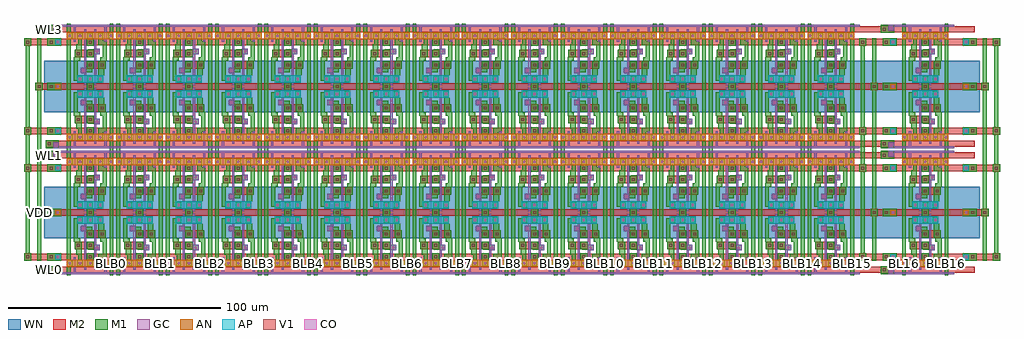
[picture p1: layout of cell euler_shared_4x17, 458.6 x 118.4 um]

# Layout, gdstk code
import gdstk
lib = gdstk.Library(unit=1e-6, precision=1e-07)
def R(c, l, rs):  # rectangles x0, y0, x1, y1
    for r in rs: c.add(gdstk.rectangle(r[:2], r[2:], *l))
def A(c, l, x, y, w, h, nx, ny, dx, dy):  # array of equal rectangles
    R(c, l, [(x+i*dx, y+j*dy, x+i*dx+w, y+j*dy+h) for i in range(nx) for j in range(ny)])
def P(c, l, *ps):  # polygons
    for p in ps: c.add(gdstk.Polygon(p, *l))
AP = (3, 1)
AN = (3, 2)
GC = (8, 1)
CO = (11, 0)
M1 = (13, 0)
V1 = (19, 0)
M2 = (20, 0)
WN = (140, 0)

euler = lib.new_cell('euler')
R(euler, AP, [(3.5,18.7,15.7,22.1)])
R(euler, AN, [(-1.3,-1.7,20.5,1.7)])
R(euler, GC, [(0,-5.1,23.2,-4.1), (1.9,-5.1,2.9,2.9), (16.3,-5.1,17.3,2.9), (6.7,-2.9,7.7,23.3), (11.5,-2.9,12.5,23.3), (11.5,6.1,14.1,8.7), (11.5,6.9,13.3,7.9), (5.1,15.1,7.7,17.7), (5.9,15.9,7.7,16.9)])
A(euler, CO, -0.5, -0.5, 1, 1, 5, 1, 4.8, 0)
A(euler, CO, 4.3, 19.9, 1, 1, 3, 1, 4.8, 0)
R(euler, CO, [(12.3,6.9,13.3,7.9), (5.9,15.9,6.9,16.9)])
P(euler, M1, [(8.3,-1.3),(8.3,1.3),(7.9,1.3),(7.9,4.7),(11.3,4.7),(11.3,1.3),(10.9,1.3),(10.9,-1.3)],
  [(11.5,6.1),(11.5,6.5),(8.7,6.5),(8.7,6.7),(7.9,6.7),(7.9,10.1),(11.3,10.1),(11.3,8.7),(14.1,8.7),(14.1,6.1)],
  [(7.9,12.1),(7.9,15.1),(5.1,15.1),(5.1,17.7),(7.7,17.7),(7.7,17.3),(10.5,17.3),(10.5,15.5),(11.3,15.5),(11.3,12.1)],
  [(3.5,-1.3),(3.5,1.3),(3.9,1.3),(3.9,4.1),(3.1,4.1),(3.1,6.7),(2.3,6.7),(2.3,10.1),(1.9,10.1),(1.9,21.3),(3.5,21.3),(3.5,21.7),(6.1,21.7),(6.1,19.1),(3.7,19.1),(3.7,11.9),(4.9,11.9),(4.9,10.1),(5.7,10.1),(5.7,1.3),(6.1,1.3),(6.1,-1.3)],
  [(13.1,-1.3),(13.1,1.3),(13.5,1.3),(13.5,4.5),(15.5,4.5),(15.5,10.1),(14.3,10.1),(14.3,12.1),(13.5,12.1),(13.5,19.1),(13.1,19.1),(13.1,21.7),(15.7,21.7),(15.7,18.7),(16.1,18.7),(16.1,15.5),(16.9,15.5),(16.9,11.9),(17.3,11.9),(17.3,2.7),(15.7,2.7),(15.7,-1.3)],
  [(-1.3,-5.7),(-1.3,23.9),(0.5,23.9),(0.5,1.3),(1.3,1.3),(1.3,-1.3),(0.5,-1.3),(0.5,-5.7)],
  [(18.7,-5.7),(18.7,-1.3),(17.9,-1.3),(17.9,1.3),(18.7,1.3),(18.7,23.9),(20.5,23.9),(20.5,-5.7)],
  [(8.3,19.1),(8.3,22.2),(7.9,22.2),(7.9,25.6),(11.3,25.6),(11.3,22.2),(10.9,22.2),(10.9,19.1)])
A(euler, V1, 8.9, 2.3, 1.4, 1.4, 1, 3, 0, 5.4)
R(euler, V1, [(3.3,7.7,4.7,9.1), (14.5,13.1,15.9,14.5), (8.9,23.2,10.3,24.6)])
A(euler, M2, 7.9, 1.3, 3.4, 3.4, 1, 3, 0, 5.4)
R(euler, M2, [(0,-4.5,23.2,-1.5), (0,1.5,23.2,4.5), (2.3,6.7,5.7,10.1), (2.3,6.7,11.3,10.1), (7.9,12.1,16.9,15.5), (13.5,12.1,16.9,15.5), (7.9,22.2,11.3,25.6), (0,22.4,23.2,25.4)])
R(euler, WN, [(-3.5,11.7,26.7,29.1)])

euler_shared_4x17 = lib.new_cell('euler_shared_4x17')
R(euler_shared_4x17, AP, [(-6.9,7.4,-4.3,10), (385.5,7.4,388.1,10), (419.9,7.4,422.5,10), (-6.9,49.2,-4.3,51.8), (385.5,49.2,388.1,51.8), (419.9,49.2,422.5,51.8), (-6.9,66.6,-4.3,69.2), (385.5,66.6,388.1,69.2), (419.9,66.6,422.5,69.2), (-6.9,108.4,-4.3,111), (385.5,108.4,388.1,111), (419.9,108.4,422.5,111)])
R(euler_shared_4x17, AN, [(-6.9,28.3,-4.3,30.9), (385.5,28.3,388.1,30.9), (419.9,28.3,422.5,30.9), (-6.9,87.5,-4.3,90.1), (385.5,87.5,388.1,90.1), (419.9,87.5,422.5,90.1)])
R(euler_shared_4x17, GC, [(-6.9,0.6,-5.9,2.5), (-6.4,0.6,0,1.6), (385.5,0.6,386.5,2.5), (386,0.6,392.4,1.6), (-7.7,0.7,-5.1,3.3), (384.7,0.7,387.3,3.3), (-7.7,55.9,-5.1,58.5), (384.7,55.9,387.3,58.5), (-6.9,56.7,-5.9,58.6), (385.5,56.7,386.5,58.6), (-6.4,57.6,0,58.6), (386,57.6,392.4,58.6), (-6.9,59.8,-5.9,61.7), (-6.4,59.8,0,60.8), (385.5,59.8,386.5,61.7), (386,59.8,392.4,60.8), (-7.7,59.9,-5.1,62.5), (384.7,59.9,387.3,62.5), (-7.7,115.1,-5.1,117.7), (384.7,115.1,387.3,117.7), (-6.9,115.9,-5.9,117.8), (385.5,115.9,386.5,117.8), (-6.4,116.8,0,117.8), (386,116.8,392.4,117.8)])
A(euler_shared_4x17, CO, -6.1, 8.2, 1, 1, 1, 3, 0, 20.9)
A(euler_shared_4x17, CO, 386.3, 8.2, 1, 1, 1, 3, 0, 20.9)
A(euler_shared_4x17, CO, 420.7, 8.2, 1, 1, 1, 3, 0, 20.9)
A(euler_shared_4x17, CO, -6.1, 67.4, 1, 1, 1, 3, 0, 20.9)
A(euler_shared_4x17, CO, 386.3, 67.4, 1, 1, 1, 3, 0, 20.9)
A(euler_shared_4x17, CO, 420.7, 67.4, 1, 1, 1, 3, 0, 20.9)
R(euler_shared_4x17, CO, [(-6.9,1.5,-5.9,2.5), (385.5,1.5,386.5,2.5), (-6.9,56.7,-5.9,57.7), (385.5,56.7,386.5,57.7), (-6.9,60.7,-5.9,61.7), (385.5,60.7,386.5,61.7), (-6.9,115.9,-5.9,116.9), (385.5,115.9,386.5,116.9)])
A(euler_shared_4x17, M1, -10.5, 7, 3.4, 3.4, 1, 3, 0, 20.9)
A(euler_shared_4x17, M1, -10.5, 7, 6.6, 3.4, 1, 3, 0, 20.9)
A(euler_shared_4x17, M1, 381.9, 7, 3.4, 3.4, 1, 3, 0, 20.9)
A(euler_shared_4x17, M1, 381.9, 7, 6.6, 3.4, 1, 3, 0, 20.9)
A(euler_shared_4x17, M1, 419.5, 7, 6.6, 3.4, 1, 3, 0, 20.9)
A(euler_shared_4x17, M1, 422.7, 7, 3.4, 3.4, 1, 3, 0, 20.9)
A(euler_shared_4x17, M1, -6.9, 7.4, 2.6, 2.6, 1, 3, 0, 20.9)
A(euler_shared_4x17, M1, 385.5, 7.4, 2.6, 2.6, 1, 3, 0, 20.9)
A(euler_shared_4x17, M1, 419.9, 7.4, 2.6, 2.6, 1, 3, 0, 20.9)
A(euler_shared_4x17, M1, -10.5, 66.2, 3.4, 3.4, 1, 3, 0, 20.9)
A(euler_shared_4x17, M1, -10.5, 66.2, 6.6, 3.4, 1, 3, 0, 20.9)
A(euler_shared_4x17, M1, 381.9, 66.2, 3.4, 3.4, 1, 3, 0, 20.9)
A(euler_shared_4x17, M1, 381.9, 66.2, 6.6, 3.4, 1, 3, 0, 20.9)
A(euler_shared_4x17, M1, 419.5, 66.2, 6.6, 3.4, 1, 3, 0, 20.9)
A(euler_shared_4x17, M1, 422.7, 66.2, 3.4, 3.4, 1, 3, 0, 20.9)
A(euler_shared_4x17, M1, -6.9, 66.6, 2.6, 2.6, 1, 3, 0, 20.9)
A(euler_shared_4x17, M1, 385.5, 66.6, 2.6, 2.6, 1, 3, 0, 20.9)
A(euler_shared_4x17, M1, 419.9, 66.6, 2.6, 2.6, 1, 3, 0, 20.9)
R(euler_shared_4x17, M1, [(-11.3,0.7,-5.1,4.4), (-7.7,0.7,-5.1,3.3), (381.1,0.7,387.3,4.4), (384.7,0.7,387.3,3.3), (-11.3,1,-7.9,4.4), (381.1,1,384.5,4.4), (-21.5,7,-18.1,10.4), (-20.7,7,-18.9,111.4), (-15.3,7,-13.5,111.4), (370.9,7,374.3,10.4), (371.7,7,373.5,111.4), (377.1,7,378.9,111.4), (429.1,7,430.9,111.4), (433.7,7,437.1,10.4), (434.5,7,436.3,111.4), (-16.1,27.9,-12.7,31.3), (376.3,27.9,379.7,31.3), (428.3,27.9,431.7,31.3), (-21.5,48.8,-18.1,52.2), (370.9,48.8,374.3,52.2), (433.7,48.8,437.1,52.2), (-11.3,54.8,-7.9,58.2), (-11.3,54.8,-5.1,58.5), (381.1,54.8,384.5,58.2), (381.1,54.8,387.3,58.5), (-7.7,55.9,-5.1,58.5), (384.7,55.9,387.3,58.5), (-11.3,59.9,-5.1,63.6), (-7.7,59.9,-5.1,62.5), (381.1,59.9,387.3,63.6), (384.7,59.9,387.3,62.5), (-11.3,60.2,-7.9,63.6), (381.1,60.2,384.5,63.6), (-21.5,66.2,-18.1,69.6), (370.9,66.2,374.3,69.6), (433.7,66.2,437.1,69.6), (-16.1,87.1,-12.7,90.5), (376.3,87.1,379.7,90.5), (428.3,87.1,431.7,90.5), (-21.5,108,-18.1,111.4), (370.9,108,374.3,111.4), (433.7,108,437.1,111.4), (-11.3,114,-7.9,117.4), (-11.3,114,-5.1,117.7), (381.1,114,384.5,117.4), (381.1,114,387.3,117.7), (-7.7,115.1,-5.1,117.7), (384.7,115.1,387.3,117.7)])
A(euler_shared_4x17, V1, -9.5, 8, 1.4, 1.4, 1, 3, 0, 20.9)
A(euler_shared_4x17, V1, 382.9, 8, 1.4, 1.4, 1, 3, 0, 20.9)
A(euler_shared_4x17, V1, 423.7, 8, 1.4, 1.4, 1, 3, 0, 20.9)
A(euler_shared_4x17, V1, -9.5, 67.2, 1.4, 1.4, 1, 3, 0, 20.9)
A(euler_shared_4x17, V1, 382.9, 67.2, 1.4, 1.4, 1, 3, 0, 20.9)
A(euler_shared_4x17, V1, 423.7, 67.2, 1.4, 1.4, 1, 3, 0, 20.9)
R(euler_shared_4x17, V1, [(-10.3,2,-8.9,3.4), (382.1,2,383.5,3.4), (-20.5,8,-19.1,9.4), (371.9,8,373.3,9.4), (434.7,8,436.1,9.4), (-15.1,28.9,-13.7,30.3), (377.3,28.9,378.7,30.3), (429.3,28.9,430.7,30.3), (-20.5,49.8,-19.1,51.2), (371.9,49.8,373.3,51.2), (434.7,49.8,436.1,51.2), (-10.3,55.8,-8.9,57.2), (382.1,55.8,383.5,57.2), (-10.3,61.2,-8.9,62.6), (382.1,61.2,383.5,62.6), (-20.5,67.2,-19.1,68.6), (371.9,67.2,373.3,68.6), (434.7,67.2,436.1,68.6), (-15.1,88.1,-13.7,89.5), (377.3,88.1,378.7,89.5), (429.3,88.1,430.7,89.5), (-20.5,109,-19.1,110.4), (371.9,109,373.3,110.4), (434.7,109,436.1,110.4), (-10.3,115,-8.9,116.4), (382.1,115,383.5,116.4)])
A(euler_shared_4x17, M2, -10.5, 7, 3.4, 3.4, 1, 3, 0, 20.9)
A(euler_shared_4x17, M2, 381.9, 7, 3.4, 3.4, 1, 3, 0, 20.9)
A(euler_shared_4x17, M2, 422.7, 7, 3.4, 3.4, 1, 3, 0, 20.9)
A(euler_shared_4x17, M2, -1.7, 7.2, 419, 3, 1, 3, 0, 20.9)
A(euler_shared_4x17, M2, -10.5, 66.2, 3.4, 3.4, 1, 3, 0, 20.9)
A(euler_shared_4x17, M2, 381.9, 66.2, 3.4, 3.4, 1, 3, 0, 20.9)
A(euler_shared_4x17, M2, 422.7, 66.2, 3.4, 3.4, 1, 3, 0, 20.9)
A(euler_shared_4x17, M2, -1.7, 66.4, 419, 3, 1, 3, 0, 20.9)
R(euler_shared_4x17, M2, [(-11.3,1,-7.9,4.4), (381.1,1,384.5,4.4), (-9.6,1.2,425.2,4.2), (-21.5,7,-18.1,10.4), (370.9,7,374.3,10.4), (433.7,7,437.1,10.4), (-21.5,7.2,417.3,10.2), (-1.7,7.2,437.1,10.2), (-16.1,27.9,-12.7,31.3), (376.3,27.9,379.7,31.3), (428.3,27.9,431.7,31.3), (-16.1,28.1,417.3,31.1), (-1.7,28.1,431.7,31.1), (-21.5,48.8,-18.1,52.2), (370.9,48.8,374.3,52.2), (433.7,48.8,437.1,52.2), (-21.5,49,417.3,52), (-1.7,49,437.1,52), (-11.3,54.8,-7.9,58.2), (381.1,54.8,384.5,58.2), (-9.6,55,425.2,58), (-11.3,60.2,-7.9,63.6), (381.1,60.2,384.5,63.6), (-9.6,60.4,425.2,63.4), (-21.5,66.2,-18.1,69.6), (370.9,66.2,374.3,69.6), (433.7,66.2,437.1,69.6), (-21.5,66.4,417.3,69.4), (-1.7,66.4,437.1,69.4), (-16.1,87.1,-12.7,90.5), (376.3,87.1,379.7,90.5), (428.3,87.1,431.7,90.5), (-16.1,87.3,417.3,90.3), (-1.7,87.3,431.7,90.3), (-21.5,108,-18.1,111.4), (370.9,108,374.3,111.4), (433.7,108,437.1,111.4), (-21.5,108.2,417.3,111.2), (-1.7,108.2,437.1,111.2), (-11.3,114,-7.9,117.4), (381.1,114,384.5,117.4), (-9.6,114.2,425.2,117.2)])
R(euler_shared_4x17, WN, [(-12,17.4,427.6,41.8), (0,17.4,427.6,41.8), (380.4,17.4,427.6,41.8), (-12,76.6,427.6,101), (0,76.6,427.6,101), (380.4,76.6,427.6,101)])
euler_shared_4x17.add(gdstk.Reference(euler, (0,5.7)))
euler_shared_4x17.add(gdstk.Reference(euler, (23.2,5.7)))
euler_shared_4x17.add(gdstk.Reference(euler, (46.4,5.7)))
euler_shared_4x17.add(gdstk.Reference(euler, (69.6,5.7)))
euler_shared_4x17.add(gdstk.Reference(euler, (92.8,5.7)))
euler_shared_4x17.add(gdstk.Reference(euler, (116,5.7)))
euler_shared_4x17.add(gdstk.Reference(euler, (139.2,5.7)))
euler_shared_4x17.add(gdstk.Reference(euler, (162.4,5.7)))
euler_shared_4x17.add(gdstk.Reference(euler, (185.6,5.7)))
euler_shared_4x17.add(gdstk.Reference(euler, (208.8,5.7)))
euler_shared_4x17.add(gdstk.Reference(euler, (232,5.7)))
euler_shared_4x17.add(gdstk.Reference(euler, (255.2,5.7)))
euler_shared_4x17.add(gdstk.Reference(euler, (278.4,5.7)))
euler_shared_4x17.add(gdstk.Reference(euler, (301.6,5.7)))
euler_shared_4x17.add(gdstk.Reference(euler, (324.8,5.7)))
euler_shared_4x17.add(gdstk.Reference(euler, (348,5.7)))
euler_shared_4x17.add(gdstk.Reference(euler, (392.4,5.7)))
euler_shared_4x17.add(gdstk.Reference(euler, (0,53.5), x_reflection=True))
euler_shared_4x17.add(gdstk.Reference(euler, (23.2,53.5), x_reflection=True))
euler_shared_4x17.add(gdstk.Reference(euler, (46.4,53.5), x_reflection=True))
euler_shared_4x17.add(gdstk.Reference(euler, (69.6,53.5), x_reflection=True))
euler_shared_4x17.add(gdstk.Reference(euler, (92.8,53.5), x_reflection=True))
euler_shared_4x17.add(gdstk.Reference(euler, (116,53.5), x_reflection=True))
euler_shared_4x17.add(gdstk.Reference(euler, (139.2,53.5), x_reflection=True))
euler_shared_4x17.add(gdstk.Reference(euler, (162.4,53.5), x_reflection=True))
euler_shared_4x17.add(gdstk.Reference(euler, (185.6,53.5), x_reflection=True))
euler_shared_4x17.add(gdstk.Reference(euler, (208.8,53.5), x_reflection=True))
euler_shared_4x17.add(gdstk.Reference(euler, (232,53.5), x_reflection=True))
euler_shared_4x17.add(gdstk.Reference(euler, (255.2,53.5), x_reflection=True))
euler_shared_4x17.add(gdstk.Reference(euler, (278.4,53.5), x_reflection=True))
euler_shared_4x17.add(gdstk.Reference(euler, (301.6,53.5), x_reflection=True))
euler_shared_4x17.add(gdstk.Reference(euler, (324.8,53.5), x_reflection=True))
euler_shared_4x17.add(gdstk.Reference(euler, (348,53.5), x_reflection=True))
euler_shared_4x17.add(gdstk.Reference(euler, (392.4,53.5), x_reflection=True))
euler_shared_4x17.add(gdstk.Reference(euler, (0,64.9)))
euler_shared_4x17.add(gdstk.Reference(euler, (23.2,64.9)))
euler_shared_4x17.add(gdstk.Reference(euler, (46.4,64.9)))
euler_shared_4x17.add(gdstk.Reference(euler, (69.6,64.9)))
euler_shared_4x17.add(gdstk.Reference(euler, (92.8,64.9)))
euler_shared_4x17.add(gdstk.Reference(euler, (116,64.9)))
euler_shared_4x17.add(gdstk.Reference(euler, (139.2,64.9)))
euler_shared_4x17.add(gdstk.Reference(euler, (162.4,64.9)))
euler_shared_4x17.add(gdstk.Reference(euler, (185.6,64.9)))
euler_shared_4x17.add(gdstk.Reference(euler, (208.8,64.9)))
euler_shared_4x17.add(gdstk.Reference(euler, (232,64.9)))
euler_shared_4x17.add(gdstk.Reference(euler, (255.2,64.9)))
euler_shared_4x17.add(gdstk.Reference(euler, (278.4,64.9)))
euler_shared_4x17.add(gdstk.Reference(euler, (301.6,64.9)))
euler_shared_4x17.add(gdstk.Reference(euler, (324.8,64.9)))
euler_shared_4x17.add(gdstk.Reference(euler, (348,64.9)))
euler_shared_4x17.add(gdstk.Reference(euler, (392.4,64.9)))
euler_shared_4x17.add(gdstk.Reference(euler, (0,112.7), x_reflection=True))
euler_shared_4x17.add(gdstk.Reference(euler, (23.2,112.7), x_reflection=True))
euler_shared_4x17.add(gdstk.Reference(euler, (46.4,112.7), x_reflection=True))
euler_shared_4x17.add(gdstk.Reference(euler, (69.6,112.7), x_reflection=True))
euler_shared_4x17.add(gdstk.Reference(euler, (92.8,112.7), x_reflection=True))
euler_shared_4x17.add(gdstk.Reference(euler, (116,112.7), x_reflection=True))
euler_shared_4x17.add(gdstk.Reference(euler, (139.2,112.7), x_reflection=True))
euler_shared_4x17.add(gdstk.Reference(euler, (162.4,112.7), x_reflection=True))
euler_shared_4x17.add(gdstk.Reference(euler, (185.6,112.7), x_reflection=True))
euler_shared_4x17.add(gdstk.Reference(euler, (208.8,112.7), x_reflection=True))
euler_shared_4x17.add(gdstk.Reference(euler, (232,112.7), x_reflection=True))
euler_shared_4x17.add(gdstk.Reference(euler, (255.2,112.7), x_reflection=True))
euler_shared_4x17.add(gdstk.Reference(euler, (278.4,112.7), x_reflection=True))
euler_shared_4x17.add(gdstk.Reference(euler, (301.6,112.7), x_reflection=True))
euler_shared_4x17.add(gdstk.Reference(euler, (324.8,112.7), x_reflection=True))
euler_shared_4x17.add(gdstk.Reference(euler, (348,112.7), x_reflection=True))
euler_shared_4x17.add(gdstk.Reference(euler, (392.4,112.7), x_reflection=True))
euler_shared_4x17.add(gdstk.Label('WL0', (-9.6,2.7), layer=49, texttype=0))
euler_shared_4x17.add(gdstk.Label('WL1', (-9.6,56.5), layer=49, texttype=0))
euler_shared_4x17.add(gdstk.Label('WL2', (-9.6,61.9), layer=49, texttype=0))
euler_shared_4x17.add(gdstk.Label('WL3', (-9.6,115.7), layer=49, texttype=0))
euler_shared_4x17.add(gdstk.Label('VDD', (-14.4,29.6), layer=48, texttype=0))
euler_shared_4x17.add(gdstk.Label('VSS', (-19.8,8.7), layer=48, texttype=0))
euler_shared_4x17.add(gdstk.Label('BL0', (-0.4,5.7), layer=48, texttype=0))
euler_shared_4x17.add(gdstk.Label('BLB0', (19.6,5.7), layer=48, texttype=0))
euler_shared_4x17.add(gdstk.Label('BL1', (22.8,5.7), layer=48, texttype=0))
euler_shared_4x17.add(gdstk.Label('BLB1', (42.8,5.7), layer=48, texttype=0))
euler_shared_4x17.add(gdstk.Label('BL2', (46,5.7), layer=48, texttype=0))
euler_shared_4x17.add(gdstk.Label('BLB2', (66,5.7), layer=48, texttype=0))
euler_shared_4x17.add(gdstk.Label('BL3', (69.2,5.7), layer=48, texttype=0))
euler_shared_4x17.add(gdstk.Label('BLB3', (89.2,5.7), layer=48, texttype=0))
euler_shared_4x17.add(gdstk.Label('BL4', (92.4,5.7), layer=48, texttype=0))
euler_shared_4x17.add(gdstk.Label('BLB4', (112.4,5.7), layer=48, texttype=0))
euler_shared_4x17.add(gdstk.Label('BL5', (115.6,5.7), layer=48, texttype=0))
euler_shared_4x17.add(gdstk.Label('BLB5', (135.6,5.7), layer=48, texttype=0))
euler_shared_4x17.add(gdstk.Label('BL6', (138.8,5.7), layer=48, texttype=0))
euler_shared_4x17.add(gdstk.Label('BLB6', (158.8,5.7), layer=48, texttype=0))
euler_shared_4x17.add(gdstk.Label('BL7', (162,5.7), layer=48, texttype=0))
euler_shared_4x17.add(gdstk.Label('BLB7', (182,5.7), layer=48, texttype=0))
euler_shared_4x17.add(gdstk.Label('BL8', (185.2,5.7), layer=48, texttype=0))
euler_shared_4x17.add(gdstk.Label('BLB8', (205.2,5.7), layer=48, texttype=0))
euler_shared_4x17.add(gdstk.Label('BL9', (208.4,5.7), layer=48, texttype=0))
euler_shared_4x17.add(gdstk.Label('BLB9', (228.4,5.7), layer=48, texttype=0))
euler_shared_4x17.add(gdstk.Label('BL10', (231.6,5.7), layer=48, texttype=0))
euler_shared_4x17.add(gdstk.Label('BLB10', (251.6,5.7), layer=48, texttype=0))
euler_shared_4x17.add(gdstk.Label('BL11', (254.8,5.7), layer=48, texttype=0))
euler_shared_4x17.add(gdstk.Label('BLB11', (274.8,5.7), layer=48, texttype=0))
euler_shared_4x17.add(gdstk.Label('BL12', (278,5.7), layer=48, texttype=0))
euler_shared_4x17.add(gdstk.Label('BLB12', (298,5.7), layer=48, texttype=0))
euler_shared_4x17.add(gdstk.Label('BL13', (301.2,5.7), layer=48, texttype=0))
euler_shared_4x17.add(gdstk.Label('BLB13', (321.2,5.7), layer=48, texttype=0))
euler_shared_4x17.add(gdstk.Label('BL14', (324.4,5.7), layer=48, texttype=0))
euler_shared_4x17.add(gdstk.Label('BLB14', (344.4,5.7), layer=48, texttype=0))
euler_shared_4x17.add(gdstk.Label('BL15', (347.6,5.7), layer=48, texttype=0))
euler_shared_4x17.add(gdstk.Label('BLB15', (367.6,5.7), layer=48, texttype=0))
euler_shared_4x17.add(gdstk.Label('BL16', (392,5.7), layer=48, texttype=0))
euler_shared_4x17.add(gdstk.Label('BLB16', (412,5.7), layer=48, texttype=0))

lib.write_gds('euler_shared_4x17.gds')
